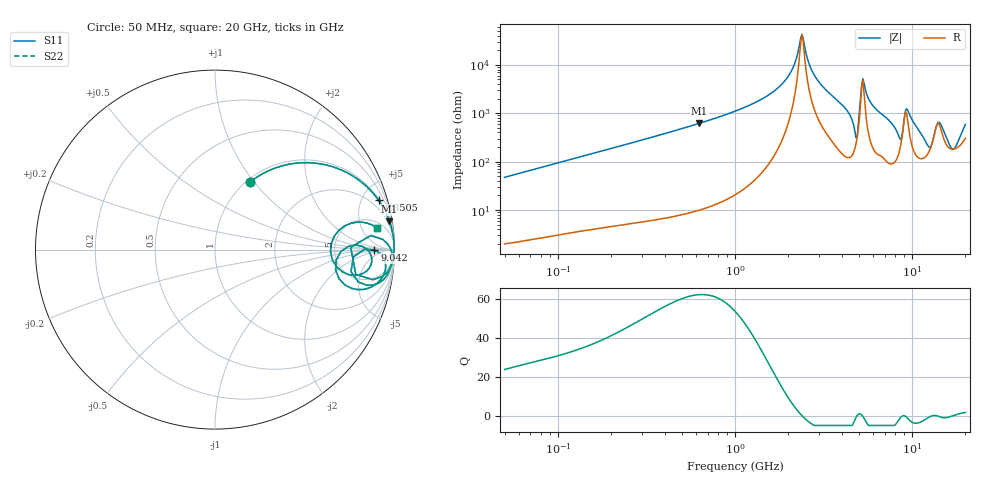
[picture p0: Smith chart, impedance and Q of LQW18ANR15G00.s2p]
!Murata Part Number: LQW18ANR15G00
!These Parameters are Measured in Series Mode Connection
!  o--[Z]--o
!Port1  Port2
!  o-------o
!Freq. Start=50[MHz] Stop=20[GHz], 401[Steps]
# Hz S RI R 50
!Freq.(Hz) S11(Real) S11(Imag) S21(Real) S21(Imag) S12(Real) S12(Imag) S22(Real) S22(Imag)
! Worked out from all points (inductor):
!   401 points, 50 MHz to 20 GHz, reference 50 ohm
!   read as one part in series: L = 150 nH near 51.52 MHz
!   highest Q = 62.2 at 628.6 MHz (marker M1), where L = 156 nH
!   self-resonance near 2.384 GHz
!   S11 on the Smith chart (normalised r, x): 50 MHz: 1.04, +0.95; 350.5 MHz: 1.12, +6.59; 9.042 GHz: 17, -0; 20 GHz: 7, +10
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5e7  0.1931 0.3742  0.8069 -0.3742  0.8069 -0.3742  0.1931 0.3742
1.364002e8  0.616 0.4722  0.384 -0.4722  0.384 -0.4722  0.616 0.4722
3.504608e8  0.9114 0.2749  0.0886 -0.2749  0.0886 -0.2749  0.9114 0.2749
3.721004e8  0.9208 0.2611  0.0792 -0.2611  0.0792 -0.2611  0.9208 0.2611
6.285508e8  0.9721 0.1569  0.0279 -0.1569  0.0279 -0.1569  0.9721 0.1569
1e9  0.9902 0.0898  0.00984 -0.0898  0.00984 -0.0898  0.9902 0.0898
1.848039e9  0.9977 0.0245  0.00232 -0.0245  0.00232 -0.0245  0.9977 0.0245
2.383959e9  0.9977 0.000229  0.00234 -0.000229  0.00234 -0.000229  0.9977 0.000229
2.728004e9  0.9968 -0.0131  0.00317 0.0131  0.00317 0.0131  0.9968 -0.0131
4.748272e9  0.8794 -0.1676  0.1206 0.1676  0.1206 0.1676  0.8794 -0.1676
4.89267e9  0.756 0.013  0.244 -0.013  0.244 -0.013  0.756 0.013
5.194772e9  0.9761 0.00873  0.0239 -0.00873  0.0239 -0.00873  0.9761 0.00873
5.352748e9  0.9853 -0.0183  0.0147 0.0183  0.0147 0.0183  0.9853 -0.0183
5.944466e9  0.9867 -0.0643  0.0133 0.0643  0.0133 0.0643  0.9867 -0.0643
7.442007e9  0.9631 -0.1341  0.0369 0.1341  0.0369 0.1341  0.9631 -0.1341
8.516016e9  0.7991 -0.1811  0.2009 0.1811  0.2009 0.1811  0.7991 -0.1811
9.041845e9  0.8884 -0.00183  0.1116 0.00183  0.1116 0.00183  0.8884 -0.00183
9.457416e9  0.9469 -0.064  0.0531 0.064  0.0531 0.064  0.9469 -0.064
1.238412e10  0.6918 -0.1632  0.3082 0.1632  0.3082 0.1632  0.6918 -0.1632
1.417136e10  0.8725 -0.0416  0.1275 0.0416  0.1275 0.0416  0.8725 -0.0416
1.696185e10  0.644 -0.0161  0.356 0.0161  0.356 0.0161  0.644 -0.0161
2e10  0.9034 0.121  0.0966 -0.121  0.0966 -0.121  0.9034 0.121
